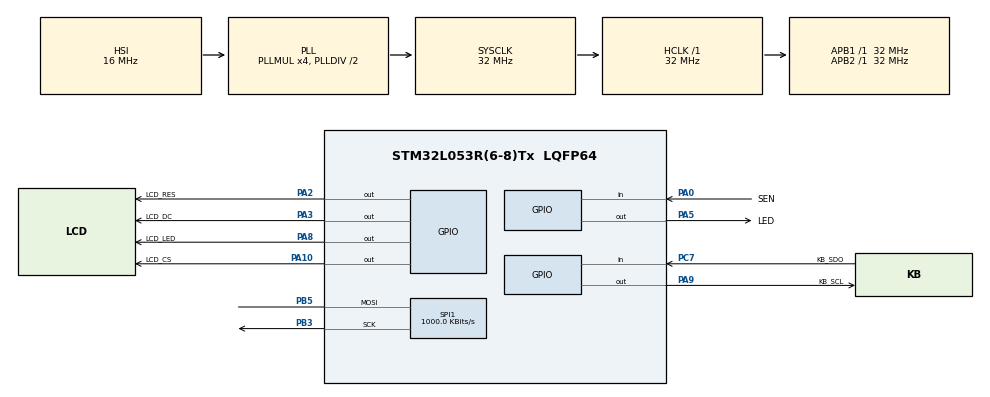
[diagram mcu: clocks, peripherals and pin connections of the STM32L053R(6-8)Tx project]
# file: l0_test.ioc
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Mcu.Family=STM32L0
Mcu.Name=STM32L053R(6-8)Tx
Mcu.Package=LQFP64
PA0.GPIO_Label=SEN
PA0.GPIO_PuPd=GPIO_NOPULL
PA0.Signal=GPIO_Input
PA10.GPIO_Label=LCD_CS
PA10.Signal=GPIO_Output
PA2.GPIO_Label=LCD_RES
PA2.Signal=GPIO_Output
PA3.GPIO_Label=LCD_DC
PA3.Signal=GPIO_Output
PA5.GPIO_Label=LED
PA5.Signal=GPIO_Output
PA8.GPIO_Label=LCD_LED
PA8.Signal=GPIO_Output
PA9.GPIO_Label=KB_SCL
PA9.Signal=GPIO_Output
PB3.Mode=Simplex_Bidirectional_Master
PB3.Signal=SPI1_SCK
PB5.Mode=Simplex_Bidirectional_Master
PB5.Signal=SPI1_MOSI
PC7.GPIO_Label=KB_SDO
PC7.Signal=GPIO_Input
ProjectManager.HeapSize=0x200
ProjectManager.StackSize=0x400
ProjectManager.TargetToolchain=TrueSTUDIO
RCC.AHBFreq_Value=32000000
RCC.APB1Freq_Value=32000000
RCC.APB1TimFreq_Value=32000000
RCC.APB2Freq_Value=32000000
RCC.APB2TimFreq_Value=32000000
RCC.HCLKFreq_Value=32000000
RCC.HSE_VALUE=8000000
RCC.HSI16_VALUE=16000000
RCC.HSI48_VALUE=48000000
RCC.HSI_VALUE=16000000
RCC.LSE_VALUE=32768
RCC.MSI_VALUE=2097000
RCC.PLLMUL=RCC_PLLMUL_4
RCC.SYSCLKFreq_VALUE=32000000
RCC.SYSCLKSource=RCC_SYSCLKSOURCE_PLLCLK
RCC.VCOOutputFreq_Value=64000000
SPI1.BaudRatePrescaler=SPI_BAUDRATEPRESCALER_32
SPI1.CalculateBaudRate=1000.0 KBits/s
SPI1.Direction=SPI_DIRECTION_1LINE
SPI1.Mode=SPI_MODE_MASTER
SPI1.VirtualType=VM_MASTER
board=l0_test

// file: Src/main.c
/* USER CODE BEGIN Header */
/**
  ******************************************************************************
  * @file           : main.c
  * @brief          : Main program body
  ******************************************************************************
  ** This notice applies to any and all portions of this file
  * that are not between comment pairs USER CODE BEGIN and
  * USER CODE END. Other portions of this file, whether
  * inserted by the user or by software development tools
  * are owned by their respective copyright owners.
  *
  * COPYRIGHT(c) 2019 STMicroelectronics
  *
  * Redistribution and use in source and binary forms, with or without modification,
  * are permitted provided that the following conditions are met:
  *   1. Redistributions of source code must retain the above copyright notice,
  *      this list of conditions and the following disclaimer.
  *   2. Redistributions in binary form must reproduce the above copyright notice,
  *      this list of conditions and the following disclaimer in the documentation
  *      and/or other materials provided with the distribution.
  *   3. Neither the name of STMicroelectronics nor the names of its contributors
  *      may be used to endorse or promote products derived from this software
  *      without specific prior written permission.
  *
  * THIS SOFTWARE IS PROVIDED BY THE COPYRIGHT HOLDERS AND CONTRIBUTORS "AS IS"
  * AND ANY EXPRESS OR IMPLIED WARRANTIES, INCLUDING, BUT NOT LIMITED TO, THE
  * IMPLIED WARRANTIES OF MERCHANTABILITY AND FITNESS FOR A PARTICULAR PURPOSE ARE
  * DISCLAIMED. IN NO EVENT SHALL THE COPYRIGHT HOLDER OR CONTRIBUTORS BE LIABLE
  * FOR ANY DIRECT, INDIRECT, INCIDENTAL, SPECIAL, EXEMPLARY, OR CONSEQUENTIAL
  * DAMAGES (INCLUDING, BUT NOT LIMITED TO, PROCUREMENT OF SUBSTITUTE GOODS OR
  * SERVICES; LOSS OF USE, DATA, OR PROFITS; OR BUSINESS INTERRUPTION) HOWEVER
  * CAUSED AND ON ANY THEORY OF LIABILITY, WHETHER IN CONTRACT, STRICT LIABILITY,
  * OR TORT (INCLUDING NEGLIGENCE OR OTHERWISE) ARISING IN ANY WAY OUT OF THE USE
  * OF THIS SOFTWARE, EVEN IF ADVISED OF THE POSSIBILITY OF SUCH DAMAGE.
  *
  ******************************************************************************
  */
/* USER CODE END Header */

#include "main.h"

/* USER CODE BEGIN Includes */
#include <string.h>
#include "st7735.h"
#include "fonts.h"
#include "testimg.h"

/* USER CODE END Includes */

SPI_HandleTypeDef hspi1;

/* USER CODE BEGIN PV */
/* Private variables ---------------------------------------------------------*/

/* USER CODE END PV */

void SystemClock_Config(void);
static void MX_GPIO_Init(void);
static void MX_SPI1_Init(void);
/* USER CODE BEGIN PFP */
/* Private function prototypes -----------------------------------------------*/
uint8_t KB_ReadKey(void);
void loop(void);

/* USER CODE END PFP */

int main(void)
{
  /* USER CODE BEGIN 1 */
	uint8_t Key = 0;
	uint8_t i;

  /* USER CODE END 1 */

  /* MCU Configuration--------------------------------------------------------*/

  /* Reset of all peripherals, Initializes the Flash interface and the Systick. */
  HAL_Init();

  /* Configure the system clock */
  SystemClock_Config();

  /* Initialize all configured peripherals */
  MX_GPIO_Init();
  MX_SPI1_Init();

  /* Infinite loop */
  /* USER CODE BEGIN WHILE */
  ST7735_Init();
  HAL_GPIO_WritePin(LCD_LED_GPIO_Port, LCD_LED_Pin, GPIO_PIN_SET);
  HAL_Delay(1000);
  loop();

  while (1)
  {

	  if(HAL_GPIO_ReadPin(SEN_GPIO_Port, SEN_Pin) == GPIO_PIN_SET){
		  HAL_GPIO_TogglePin(LED_GPIO_Port, LED_Pin);
		  while(HAL_GPIO_ReadPin(SEN_GPIO_Port, SEN_Pin) == GPIO_PIN_SET);
		  while(HAL_GPIO_ReadPin(SEN_GPIO_Port, SEN_Pin) == GPIO_PIN_RESET);
	  }

	  Key = KB_ReadKey();

	  if(Key){
		  for(i=0; i<(Key*2); i++){
			  HAL_GPIO_TogglePin(LED_GPIO_Port, LED_Pin);
			  HAL_Delay(200);
		  }
	  }
//	  else{
//		  HAL_GPIO_WritePin(LED_GPIO_Port, LED_Pin, GPIO_PIN_RESET);
//	  }

    /* USER CODE END WHILE */

  }
}

void SystemClock_Config(void)
{
  RCC_OscInitTypeDef RCC_OscInitStruct = {0};
  RCC_ClkInitTypeDef RCC_ClkInitStruct = {0};

  /**Configure the main internal regulator output voltage
  */
  __HAL_PWR_VOLTAGESCALING_CONFIG(PWR_REGULATOR_VOLTAGE_SCALE1);
  /**Initializes the CPU, AHB and APB busses clocks
  */
  RCC_OscInitStruct.OscillatorType = RCC_OSCILLATORTYPE_HSI;
  RCC_OscInitStruct.HSIState = RCC_HSI_ON;
  RCC_OscInitStruct.HSICalibrationValue = RCC_HSICALIBRATION_DEFAULT;
  RCC_OscInitStruct.PLL.PLLState = RCC_PLL_ON;
  RCC_OscInitStruct.PLL.PLLSource = RCC_PLLSOURCE_HSI;
  RCC_OscInitStruct.PLL.PLLMUL = RCC_PLLMUL_4;
  RCC_OscInitStruct.PLL.PLLDIV = RCC_PLLDIV_2;
  if (HAL_RCC_OscConfig(&RCC_OscInitStruct) != HAL_OK)
  {
    Error_Handler();
  }
  /**Initializes the CPU, AHB and APB busses clocks
  */
  RCC_ClkInitStruct.ClockType = RCC_CLOCKTYPE_HCLK|RCC_CLOCKTYPE_SYSCLK
                              |RCC_CLOCKTYPE_PCLK1|RCC_CLOCKTYPE_PCLK2;
  RCC_ClkInitStruct.SYSCLKSource = RCC_SYSCLKSOURCE_PLLCLK;
  RCC_ClkInitStruct.AHBCLKDivider = RCC_SYSCLK_DIV1;
  RCC_ClkInitStruct.APB1CLKDivider = RCC_HCLK_DIV1;
  RCC_ClkInitStruct.APB2CLKDivider = RCC_HCLK_DIV1;

  if (HAL_RCC_ClockConfig(&RCC_ClkInitStruct, FLASH_LATENCY_1) != HAL_OK)
  {
    Error_Handler();
  }
}

static void MX_SPI1_Init(void)
{

  /* SPI1 parameter configuration*/
  hspi1.Instance = SPI1;
  hspi1.Init.Mode = SPI_MODE_MASTER;
  hspi1.Init.Direction = SPI_DIRECTION_1LINE;
  hspi1.Init.DataSize = SPI_DATASIZE_8BIT;
  hspi1.Init.CLKPolarity = SPI_POLARITY_LOW;
  hspi1.Init.CLKPhase = SPI_PHASE_1EDGE;
  hspi1.Init.NSS = SPI_NSS_SOFT;
  hspi1.Init.BaudRatePrescaler = SPI_BAUDRATEPRESCALER_32;
  hspi1.Init.FirstBit = SPI_FIRSTBIT_MSB;
  hspi1.Init.TIMode = SPI_TIMODE_DISABLE;
  hspi1.Init.CRCCalculation = SPI_CRCCALCULATION_DISABLE;
  hspi1.Init.CRCPolynomial = 7;
  if (HAL_SPI_Init(&hspi1) != HAL_OK)
  {
    Error_Handler();
  }

}

static void MX_GPIO_Init(void)
{
  GPIO_InitTypeDef GPIO_InitStruct = {0};

  /* GPIO Ports Clock Enable */
  __HAL_RCC_GPIOA_CLK_ENABLE();
  __HAL_RCC_GPIOC_CLK_ENABLE();
  __HAL_RCC_GPIOB_CLK_ENABLE();

  /*Configure GPIO pin Output Level */
  HAL_GPIO_WritePin(GPIOA, LCD_RES_Pin|LCD_DC_Pin|LED_Pin|LCD_LED_Pin
                          |KB_SCL_Pin|LCD_CS_Pin, GPIO_PIN_RESET);

  /*Configure GPIO pin : SEN_Pin */
  GPIO_InitStruct.Pin = SEN_Pin;
  GPIO_InitStruct.Mode = GPIO_MODE_INPUT;
  GPIO_InitStruct.Pull = GPIO_NOPULL;
  HAL_GPIO_Init(SEN_GPIO_Port, &GPIO_InitStruct);

  /*Configure GPIO pins : LCD_RES_Pin LCD_DC_Pin LED_Pin LCD_LED_Pin
                           KB_SCL_Pin LCD_CS_Pin */
  GPIO_InitStruct.Pin = LCD_RES_Pin|LCD_DC_Pin|LED_Pin|LCD_LED_Pin
                          |KB_SCL_Pin|LCD_CS_Pin;
  GPIO_InitStruct.Mode = GPIO_MODE_OUTPUT_PP;
  GPIO_InitStruct.Pull = GPIO_NOPULL;
  GPIO_InitStruct.Speed = GPIO_SPEED_FREQ_LOW;
  HAL_GPIO_Init(GPIOA, &GPIO_InitStruct);

  /*Configure GPIO pin : KB_SDO_Pin */
  GPIO_InitStruct.Pin = KB_SDO_Pin;
  GPIO_InitStruct.Mode = GPIO_MODE_INPUT;
  GPIO_InitStruct.Pull = GPIO_NOPULL;
  HAL_GPIO_Init(KB_SDO_GPIO_Port, &GPIO_InitStruct);

}

/* USER CODE BEGIN 4 */
uint8_t KB_ReadKey(void){
	uint8_t Count;
	uint8_t Key_State = 0;

	/* Pulse the clock pin 16 times (one for each key of the keypad)
	 and read the state of the data pin on each pulse */
	for(Count = 1; Count <= 16; Count++) {
		HAL_GPIO_WritePin(KB_SCL_GPIO_Port, KB_SCL_Pin, GPIO_PIN_RESET);

		/* If the data pin is low (active low mode) then store the
		 current key number */
		if (!HAL_GPIO_ReadPin(KB_SDO_GPIO_Port, KB_SDO_Pin))
			Key_State = Count;

		HAL_GPIO_WritePin(KB_SCL_GPIO_Port, KB_SCL_Pin, GPIO_PIN_SET);
	}

	return Key_State;
}

void loop() {
    // Check border
    ST7735_FillScreen(ST7735_BLACK);

    for(int x = 0; x < ST7735_WIDTH; x++) {
        ST7735_DrawPixel(x, 0, ST7735_RED);
        ST7735_DrawPixel(x, ST7735_HEIGHT-1, ST7735_RED);
    }

    for(int y = 0; y < ST7735_HEIGHT; y++) {
        ST7735_DrawPixel(0, y, ST7735_RED);
        ST7735_DrawPixel(ST7735_WIDTH-1, y, ST7735_RED);
    }

    HAL_Delay(3000);

    // Check fonts
    ST7735_FillScreen(ST7735_BLACK);
    ST7735_WriteString(0, 0, "Font_7x10, red on black, lorem ipsum dolor sit amet", Font_7x10, ST7735_RED, ST7735_BLACK);
    ST7735_WriteString(0, 3*10, "Font_11x18, green, lorem ipsum", Font_11x18, ST7735_GREEN, ST7735_BLACK);
    ST7735_WriteString(0, 3*10+3*18, "Font_16x26", Font_16x26, ST7735_BLUE, ST7735_BLACK);
    HAL_Delay(2000);

    // Check colors
    ST7735_FillScreen(ST7735_BLACK);
    ST7735_WriteString(0, 0, "BLACK", Font_11x18, ST7735_WHITE, ST7735_BLACK);
    HAL_Delay(500);

    ST7735_FillScreen(ST7735_BLUE);
    ST7735_WriteString(0, 0, "BLUE", Font_11x18, ST7735_BLACK, ST7735_BLUE);
    HAL_Delay(500);

    ST7735_FillScreen(ST7735_RED);
    ST7735_WriteString(0, 0, "RED", Font_11x18, ST7735_BLACK, ST7735_RED);
    HAL_Delay(500);

    ST7735_FillScreen(ST7735_GREEN);
    ST7735_WriteString(0, 0, "GREEN", Font_11x18, ST7735_BLACK, ST7735_GREEN);
    HAL_Delay(500);

    ST7735_FillScreen(ST7735_CYAN);
    ST7735_WriteString(0, 0, "CYAN", Font_11x18, ST7735_BLACK, ST7735_CYAN);
    HAL_Delay(500);

    ST7735_FillScreen(ST7735_MAGENTA);
    ST7735_WriteString(0, 0, "MAGENTA", Font_11x18, ST7735_BLACK, ST7735_MAGENTA);
    HAL_Delay(500);

    ST7735_FillScreen(ST7735_YELLOW);
    ST7735_WriteString(0, 0, "YELLOW", Font_11x18, ST7735_BLACK, ST7735_YELLOW);
    HAL_Delay(500);

    ST7735_FillScreen(ST7735_WHITE);
    ST7735_WriteString(0, 0, "WHITE", Font_11x18, ST7735_BLACK, ST7735_WHITE);
    HAL_Delay(500);

#ifdef ST7735_IS_128X128
    // Display test image 128x128
    ST7735_DrawImage(0, 0, ST7735_WIDTH, ST7735_HEIGHT, (uint16_t*)test_img_128x128);

/*
    // Display test image 128x128 pixel by pixel
    for(int x = 0; x < ST7735_WIDTH; x++) {
        for(int y = 0; y < ST7735_HEIGHT; y++) {
            uint16_t color565 = test_img_128x128[y][x];
            // fix endiness
            color565 = ((color565 & 0xFF00) >> 8) | ((color565 & 0xFF) << 8);
            ST7735_DrawPixel(x, y, color565);
        }
    }
*/
    HAL_Delay(15000);
#endif // ST7735_IS_128X128

}

/* USER CODE END 4 */

void Error_Handler(void)
{
  while(1)
  {
  }
}

/************************ (C) COPYRIGHT STMicroelectronics *****END OF FILE****/
